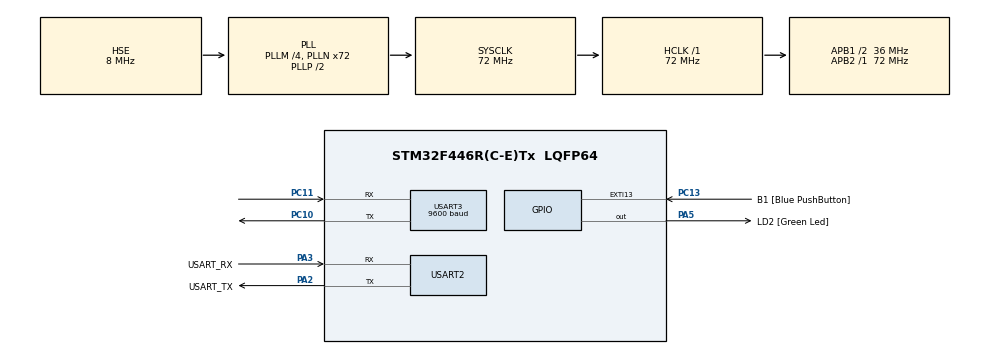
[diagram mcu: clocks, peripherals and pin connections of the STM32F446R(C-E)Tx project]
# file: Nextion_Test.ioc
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Mcu.Family=STM32F4
NVIC.USART3_IRQn=true\:5\:0\:false\:false\:true\:true\:true\:true
PH0-OSC_IN.Signal=RCC_OSC_IN
RCC.CortexFreq_Value=72000000
PC10.Signal=USART3_TX
PA14.GPIO_Label=TCK
PC13.GPIO_Label=B1 [Blue PushButton]
RCC.SYSCLKSource=RCC_SYSCLKSOURCE_PLLCLK
ProjectManager.StackSize=0x400
VP_FREERTOS_VS_CMSIS_V2.Mode=CMSIS_V2
USART3.BaudRate=9600
RCC.HCLKFreq_Value=72000000
RCC.APB2TimFreq_Value=72000000
RCC.AHBFreq_Value=72000000
PH0-OSC_IN.Mode=HSE-External-Oscillator
RCC.HSE_VALUE=8000000
NVIC.TIM8_TRG_COM_TIM14_IRQn=true\:0\:0\:false\:false\:true\:false\:false\:true
PC14-OSC32_IN.Mode=LSE-External-Oscillator
PA14.Mode=Serial_Wire
VP_SYS_VS_tim14.Mode=TIM14
RCC.FLatency-AdvancedSettings=FLASH_LATENCY_2
PH1-OSC_OUT.Mode=HSE-External-Oscillator
Mcu.Package=LQFP64
NVIC.TimeBase=TIM8_TRG_COM_TIM14_IRQn
USART2.VirtualMode=VM_ASYNC
PA2.GPIO_Label=USART_TX
NVIC.TimeBaseIP=TIM14
PC11.Mode=Asynchronous
RCC.APB1TimFreq_Value=72000000
PA3.Signal=USART2_RX
PB3.GPIO_Label=SWO
RCC.PLLSourceVirtual=RCC_PLLSOURCE_HSE
PC15-OSC32_OUT.Mode=LSE-External-Oscillator
FREERTOS.Tasks01=Display1,24,128,StartDisplay1Task,Default,NULL,Dynamic,NULL,NULL;Blinky,24,128,StartTaskBlinky,Default,NULL,Dynamic,NULL,NULL;Display2,24,128,StartDisplay2Task,Default,NULL,Dynamic,NULL,NULL
PC13.Signal=GPXTI13
PC11.Signal=USART3_RX
PC10.Mode=Asynchronous
RCC.APB1CLKDivider=RCC_HCLK_DIV2
PC14-OSC32_IN.Signal=RCC_OSC32_IN
PA3.Mode=Asynchronous
PA13.Signal=SYS_JTMS-SWDIO
FREERTOS.configRECORD_STACK_HIGH_ADDRESS=1
ProjectManager.TargetToolchain=STM32CubeIDE
RCC.USBFreq_Value=72000000
PC15-OSC32_OUT.Signal=RCC_OSC32_OUT
PA5.Signal=GPIO_Output
board=NUCLEO-F446RE
RCC.VCOOutputFreq_Value=144000000
RCC.APB2Freq_Value=72000000
PH1-OSC_OUT.Signal=RCC_OSC_OUT
PA13.Mode=Serial_Wire
Mcu.Name=STM32F446R(C-E)Tx
PA13.GPIO_Label=TMS
PA2.Signal=USART2_TX
RCC.48MHZClocksFreq_Value=84000000
PB3.Signal=SYS_JTDO-SWO
RCC.SYSCLKFreq_VALUE=72000000
PA5.GPIO_Label=LD2 [Green Led]
PC13.GPIO_ModeDefaultEXTI=GPIO_MODE_IT_FALLING
USART3.VirtualMode=VM_ASYNC
PA14.Signal=SYS_JTCK-SWCLK
ProjectManager.HeapSize=0x200
RCC.HSI_VALUE=16000000
NVIC.PriorityGroup=NVIC_PRIORITYGROUP_4
RCC.PLLM=4
RCC.PLLN=72
PA2.Mode=Asynchronous
RCC.APB1Freq_Value=36000000
PA3.GPIO_Label=USART_RX

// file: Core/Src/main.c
/* USER CODE BEGIN Header */
/**
  ******************************************************************************
  * @file           : main.c
  * @brief          : Main program body
  ******************************************************************************
  * @attention
  *
  * <h2><center>&copy; Copyright (c) 2021 STMicroelectronics.
  * All rights reserved.</center></h2>
  *
  * This software component is licensed by ST under BSD 3-Clause license,
  * the "License"; You may not use this file except in compliance with the
  * License. You may obtain a copy of the License at:
  *                        opensource.org/licenses/BSD-3-Clause
  *
  ******************************************************************************
  */
/* USER CODE END Header */
#include "main.h"
#include "cmsis_os.h"
#include "usart.h"
#include "gpio.h"

/* USER CODE BEGIN Includes */
#include "Nextion_HMI.h"
/* USER CODE END Includes */

void SystemClock_Config(void);
void MX_FREERTOS_Init(void);

int main(void)
{

  /* MCU Configuration--------------------------------------------------------*/

  /* Reset of all peripherals, Initializes the Flash interface and the Systick. */
  HAL_Init();

  /* Configure the system clock */
  SystemClock_Config();

  /* Initialize all configured peripherals */
  MX_GPIO_Init();
  MX_USART2_UART_Init();
  MX_USART3_UART_Init();
  /* USER CODE BEGIN 2 */

  NxHmi_Init(&huart3); // Initialize and create the necessary RTOS components

  /* USER CODE END 2 */

  /* Init scheduler */
  osKernelInitialize();  /* Call init function for freertos objects (in freertos.c) */
  MX_FREERTOS_Init();
  /* Start scheduler */
  osKernelStart();

  /* We should never get here as control is now taken by the scheduler */
  /* Infinite loop */
  while (1)
  {

  }
}

void SystemClock_Config(void)
{
  RCC_OscInitTypeDef RCC_OscInitStruct = {0};
  RCC_ClkInitTypeDef RCC_ClkInitStruct = {0};

  /** Configure the main internal regulator output voltage
  */
  __HAL_RCC_PWR_CLK_ENABLE();
  __HAL_PWR_VOLTAGESCALING_CONFIG(PWR_REGULATOR_VOLTAGE_SCALE3);
  /** Initializes the RCC Oscillators according to the specified parameters
  * in the RCC_OscInitTypeDef structure.
  */
  RCC_OscInitStruct.OscillatorType = RCC_OSCILLATORTYPE_HSE;
  RCC_OscInitStruct.HSEState = RCC_HSE_ON;
  RCC_OscInitStruct.PLL.PLLState = RCC_PLL_ON;
  RCC_OscInitStruct.PLL.PLLSource = RCC_PLLSOURCE_HSE;
  RCC_OscInitStruct.PLL.PLLM = 4;
  RCC_OscInitStruct.PLL.PLLN = 72;
  RCC_OscInitStruct.PLL.PLLP = RCC_PLLP_DIV2;
  RCC_OscInitStruct.PLL.PLLQ = 2;
  RCC_OscInitStruct.PLL.PLLR = 2;
  if (HAL_RCC_OscConfig(&RCC_OscInitStruct) != HAL_OK)
  {
    Error_Handler();
  }
  /** Initializes the CPU, AHB and APB buses clocks
  */
  RCC_ClkInitStruct.ClockType = RCC_CLOCKTYPE_HCLK|RCC_CLOCKTYPE_SYSCLK
                              |RCC_CLOCKTYPE_PCLK1|RCC_CLOCKTYPE_PCLK2;
  RCC_ClkInitStruct.SYSCLKSource = RCC_SYSCLKSOURCE_PLLCLK;
  RCC_ClkInitStruct.AHBCLKDivider = RCC_SYSCLK_DIV1;
  RCC_ClkInitStruct.APB1CLKDivider = RCC_HCLK_DIV2;
  RCC_ClkInitStruct.APB2CLKDivider = RCC_HCLK_DIV1;

  if (HAL_RCC_ClockConfig(&RCC_ClkInitStruct, FLASH_LATENCY_2) != HAL_OK)
  {
    Error_Handler();
  }
}

 /**
  * @brief  Period elapsed callback in non blocking mode
  * @note   This function is called  when TIM14 interrupt took place, inside
  * HAL_TIM_IRQHandler(). It makes a direct call to HAL_IncTick() to increment
  * a global variable "uwTick" used as application time base.
  * @param  htim : TIM handle
  * @retval None
  */
void HAL_TIM_PeriodElapsedCallback(TIM_HandleTypeDef *htim)
{
  if (htim->Instance == TIM14) {
    HAL_IncTick();
  }
}

void Error_Handler(void)
{
  __disable_irq();
  while (1)
  {
  }
}

/************************ (C) COPYRIGHT STMicroelectronics *****END OF FILE****/

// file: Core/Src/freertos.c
/* USER CODE BEGIN Header */
/**
  ******************************************************************************
  * File Name          : freertos.c
  * Description        : Code for freertos applications
  ******************************************************************************
  * @attention
  *
  * <h2><center>&copy; Copyright (c) 2021 STMicroelectronics.
  * All rights reserved.</center></h2>
  *
  * This software component is licensed by ST under Ultimate Liberty license
  * SLA0044, the "License"; You may not use this file except in compliance with
  * the License. You may obtain a copy of the License at:
  *                             www.st.com/SLA0044
  *
  ******************************************************************************
  */
/* USER CODE END Header */

#include "FreeRTOS.h"
#include "task.h"
#include "main.h"
#include "cmsis_os.h"

/* USER CODE BEGIN Includes */
#include "Nextion_HMI.h"
#include "stdlib.h" // for rand() function
/* USER CODE END Includes */

/* USER CODE BEGIN Variables */
Nextion_Object_t txtObj1, txtObj2, intObj1, slider1Obj, gauge1Obj, prgressBarObj, btn1Obj, pgButton,
					waveForm;
uint8_t currentPage = 0xFF;
/* USER CODE END Variables */
/* Definitions for Display1 */
osThreadId_t Display1Handle;
const osThreadAttr_t Display1_attributes = {
  .name = "Display1",
  .stack_size = 128 * 4,
  .priority = (osPriority_t) osPriorityNormal,
};
/* Definitions for Blinky */
osThreadId_t BlinkyHandle;
const osThreadAttr_t Blinky_attributes = {
  .name = "Blinky",
  .stack_size = 128 * 4,
  .priority = (osPriority_t) osPriorityNormal,
};
/* Definitions for Display2 */
osThreadId_t Display2Handle;
const osThreadAttr_t Display2_attributes = {
  .name = "Display2",
  .stack_size = 128 * 4,
  .priority = (osPriority_t) osPriorityNormal,
};

/* USER CODE BEGIN FunctionPrototypes */
void initObjects(void);
void sendBack(void);
void changeSpeed(void);
void askSliderValue(void);
void btnPress(void);
void nextPage(void);
/* USER CODE END FunctionPrototypes */

void StartDisplay1Task(void *argument);
void StartTaskBlinky(void *argument);
void StartDisplay2Task(void *argument);

void MX_FREERTOS_Init(void); /* (MISRA C 2004 rule 8.1) */

void MX_FREERTOS_Init(void) {
  /* USER CODE BEGIN Init */
	initObjects();
  /* USER CODE END Init */

  /* Create the thread(s) */
  /* creation of Display1 */
  Display1Handle = osThreadNew(StartDisplay1Task, NULL, &Display1_attributes);

  /* creation of Blinky */
  BlinkyHandle = osThreadNew(StartTaskBlinky, NULL, &Blinky_attributes);

  /* creation of Display2 */
  Display2Handle = osThreadNew(StartDisplay2Task, NULL, &Display2_attributes);

}

void StartDisplay1Task(void *argument)
{
  /* USER CODE BEGIN StartDisplay1Task */
	uint8_t progressBarVal = 0;

	NxHmi_GetCurrentPageId(&currentPage);

	//NxHmi_SetAutoSleep(0, 10, 0, 1);
	/* Infinite loop */
	for (;;) {
		switch (currentPage) {

		case 0:
			//PULSE();
			NxHmi_SetIntValue(&prgressBarObj, progressBarVal);
			// PULSE();
			if (progressBarVal++ >= 100) {
				progressBarVal = 0;
			}
			break;

		case 1:
			//Waveform component height is 200px
			//Upper (channel 0) part (100 - 200 px)
			NxHmi_WaveFormAddValue(&waveForm, 0, 100 + rand() % 100);

			//Lower ( channel 1) part (0 - 100 px)
			NxHmi_WaveFormAddValue(&waveForm, 1, rand() % 100);
			break;

		default:
			break;
		}//end switch
		osDelay(10);
	}
  /* USER CODE END StartDisplay1Task */
}

void StartTaskBlinky(void *argument)
{
  /* USER CODE BEGIN StartTaskBlinky */
  /* Infinite loop */
  for(;;)
  {
	  HAL_GPIO_TogglePin(LD2_GPIO_Port, LD2_Pin);
    osDelay(500);
  }
  /* USER CODE END StartTaskBlinky */
}

void StartDisplay2Task(void *argument)
{
  /* USER CODE BEGIN StartDisplay2Task */
  /* Infinite loop */
	uint8_t hossz = 0;

	for (;;) {
		switch (currentPage) {

		case 0:
			//PULSE();
			//PULSE();
			NxHmi_SetBcoColourRGB(&txtObj2, rand() % 100, rand() % 100, rand() % 100);
			//PULSE();
			//PULSE();
			break;

		case 1:
			//NxHmi_ForceRedrawComponent(NULL);
			//NxHmi_DrawImage(0, rand() % 100, 220 + rand() % 100);
			//NxHmi_DrawImage(0, 0, 350);
			//NxHmi_DrawCropImage(1, 20, 276, hossz++, 40, 0, 0);
			//NxHmi_DrawLine(10, 240, hossz++, 220 + rand() % 20, NEX_BLUE);
			NxHmi_DrawRect(10, 240, 200, 250, NEX_BLUE, 1);
			NxHmi_DrawRect(20, 290, 100, 300, NEX_GREEN, 0);
			NxHmi_DrawCircle(100, 270, 60, NEX_RED, 1);
			NxHmi_DrawCircle(150, 290, 30, NEX_GREEN, 0);
			if (hossz == 220) {
				hossz = 0;
				NxHmi_ForceRedrawComponent(NULL);
			}
			break;

		default:
			break;
		}				//end switch
		osDelay(10);
	}
  /* USER CODE END StartDisplay2Task */
}

/* USER CODE BEGIN Application */
void initObjects(void){

	txtObj1.Name = "t0";		//component name, from Nextion editor
	txtObj1.Component_ID = 1;	//component id, from Nextion editor
	txtObj1.Page_ID = 0;		//page number where the component exists, from Nextion editor
	txtObj1.dataType = OBJ_TYPE_TXT;	//component value type
	txtObj1.PressCallback = &sendBack;	//press event function pointer
	txtObj1.ReleaseCallback = NULL;		//no function is assigned to release event
	NxHmi_AddObject(&txtObj1);	//finally add the component to the object array

	intObj1.Name = "n0";
	intObj1.Page_ID = 0;
	intObj1.Component_ID = 2;
	intObj1.PressCallback = &changeSpeed;
	intObj1.ReleaseCallback = NULL;
	NxHmi_AddObject(&intObj1);

	slider1Obj.Name = "h0";
	slider1Obj.Page_ID = 0;
	slider1Obj.Component_ID = 7;
	slider1Obj.dataType = OBJ_TYPE_INT;
	slider1Obj.PressCallback = NULL;
	slider1Obj.ReleaseCallback = &askSliderValue;
	NxHmi_AddObject(&slider1Obj);

	btn1Obj.Name = "bt0";
	btn1Obj.Page_ID = 0;
	btn1Obj.Component_ID = 3;
	btn1Obj.dataType = OBJ_TYPE_INT;
	btn1Obj.PressCallback = &btnPress;
	btn1Obj.ReleaseCallback = NULL;
	NxHmi_AddObject(&btn1Obj);

	pgButton.Name = "b0";
	pgButton.Page_ID = 0;
	pgButton.Component_ID = 8;
	pgButton.dataType = OBJ_TYPE_INT;
	pgButton.PressCallback = NULL;
	pgButton.ReleaseCallback = &nextPage;
	NxHmi_AddObject(&pgButton);

	pgButton.Name = "b0";
	pgButton.Page_ID = 0;
	pgButton.Component_ID = 8;
	pgButton.dataType = OBJ_TYPE_INT;
	pgButton.PressCallback = NULL;
	pgButton.ReleaseCallback = &nextPage;
	NxHmi_AddObject(&pgButton);

	txtObj2.Name = "t1";
	txtObj2.Component_ID = 4;
	txtObj2.Page_ID = 0;
	txtObj2.PressCallback = NULL;
	txtObj2.ReleaseCallback = NULL;
	//Not required to add to Object Array List, no callback is associated for this object.
	//NxHmi_AddObject(&txtObj2);

	waveForm.Name = "s0";
	waveForm.Page_ID = 1;
	waveForm.Component_ID = 1;
	waveForm.dataType = OBJ_TYPE_INT;
	waveForm.PressCallback = NULL;
	waveForm.ReleaseCallback = NULL;
	//NxHmi_AddObject(&waveForm);

	gauge1Obj.Name = "z0";
	gauge1Obj.Page_ID = 0;
	gauge1Obj.Component_ID = 5;
	gauge1Obj.dataType = OBJ_TYPE_INT;
	gauge1Obj.PressCallback = NULL;
	gauge1Obj.ReleaseCallback = NULL;
	//NxHmi_AddObject(&slider1Obj);

	prgressBarObj.Name = "j0";
	prgressBarObj.Page_ID = 0;
	prgressBarObj.Component_ID = 6;
	prgressBarObj.dataType = OBJ_TYPE_INT;
	prgressBarObj.PressCallback = NULL;
	prgressBarObj.ReleaseCallback = NULL;
	//NxHmi_AddObject(&prgressBarObj);
}

void sendBack(void){
	uint16_t rndszam = 0;
	//SEGGER_SYSVIEW_Start();
	  NxHmi_SetText(&txtObj1, "Sok");

	  rndszam = (10 + rand() ) % 90;
	  NxHmi_SetIntValue(&intObj1, rndszam);
	  //NxHmi_SetBcoColour(&txtObj1, rand() % 65535);
	  NxHmi_SetBcoColourRGB(&txtObj1, rand() % 100, rand() % 100, rand() % 100);
	  NxHmi_SetBacklight(50, SET_TEMPORARY);
}

void btnPress(void){
	uint32_t tmpInt;
	if(NxHmi_GetObjValue(&btn1Obj, &tmpInt) == NEX_EVENT_SUCCESS) {
		if(!tmpInt){
			NxHmi_SetBcoColour(&gauge1Obj, 65504); // yellow
		} else {
			NxHmi_SetBcoColour(&gauge1Obj, 2016); // green
		}
	}//end if success
}

void changeSpeed(void){
	//NxHmi_Baud_Rate(9600, 0);
	NxHmi_CalibrateTouchSensor();
}

void askSliderValue(void){
	uint32_t tempValue;
	Ret_Status_t retAnswer = STAT_ERROR;
	//PULSE();
	//PULSE();
	retAnswer = NxHmi_GetObjValue(&slider1Obj, &tempValue);
	while(retAnswer == STAT_ERROR);
	if(retAnswer == STAT_OK){
		NxHmi_SetIntValue(&gauge1Obj, MAP_NR(tempValue, 0, 100, 0, 360));
		char bufff[10];
		//uint8_t ttmmpp[700]; // to causing stack overflow
		sprintf(bufff, "%ld", tempValue);
		NxHmi_SetText(&txtObj2, bufff);
		//PULSE();
	}
}

void nextPage(void){
	//NxHmi_ResetDevice();
	if(NxHmi_GotoPage(1) == STAT_OK ){
		currentPage = 1;
	}

}
/* USER CODE END Application */

/************************ (C) COPYRIGHT STMicroelectronics *****END OF FILE****/
